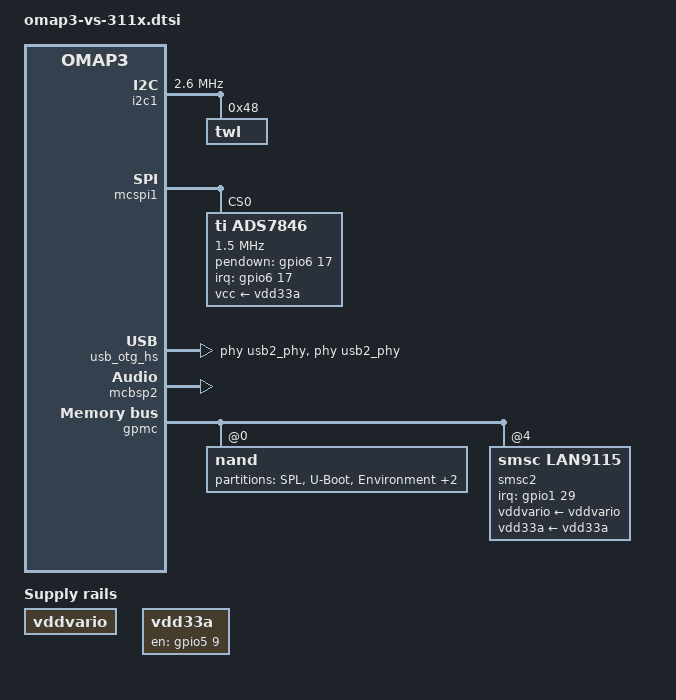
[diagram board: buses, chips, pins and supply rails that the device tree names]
/*
 * Copyright (C) 2012 Florian Vaussard, EPFL Mobots group
 *
 * This program is free software; you can redistribute it and/or modify
 * it under the terms of the GNU General Public License version 2 as
 * published by the Free Software Foundation.
 */
 
#include "omap36xx.dtsi"
#include "omap3-var-som-om3x-usb.dtsi"
/ {
	sound {
		compatible = "ti,omap-twl4030";
		ti,model = "var-som-om3x";

		ti,mcbsp = <&mcbsp2>;
		ti,codec = <&twl_audio>;
	};

	vddvario: regulator-vddvario {
		compatible = "regulator-fixed";
		regulator-name = "vddvario";
		regulator-always-on;
	};

	vdd33a: regulator-vdd33a {
		compatible = "regulator-fixed";
		regulator-name = "vdd33a";
                gpio = <&gpio5 9 0>;
                enable-active-high;
		regulator-always-on;
	};
};

&omap3_pmx_core {
	pinctrl-names = "default";
	pinctrl-0 = <&smsc_pins1>;

	uart2_pins: pinmux_uart2_pins {
		pinctrl-single,pins = <
			OMAP3_CORE1_IOPAD(0x216c, PIN_INPUT | MUX_MODE1)	/* mcbsp3_dx.uart2_cts */
			OMAP3_CORE1_IOPAD(0x216e, PIN_OUTPUT | MUX_MODE1)	/* mcbsp3_dr.uart2_rts */
			OMAP3_CORE1_IOPAD(0x2170, PIN_OUTPUT | MUX_MODE1)	/* mcbsp3_clk.uart2_tx */
			OMAP3_CORE1_IOPAD(0x2172, PIN_INPUT | MUX_MODE1)	/* mcbsp3_fsx.uart2_rx */
		>;
	};

	i2c1_pins: pinmux_i2c1_pins {
		pinctrl-single,pins = <
			OMAP3_CORE1_IOPAD(0x21ba, PIN_INPUT | MUX_MODE0)		/* i2c1_scl.i2c1_scl */
			OMAP3_CORE1_IOPAD(0x21bc, PIN_INPUT | MUX_MODE0)		/* i2c1_sda.i2c1_sda */
		>;
	};

	i2c3_pins: pinmux_i2c3_pins {
		pinctrl-single,pins = <
			OMAP3_CORE1_IOPAD(0x21c2, PIN_INPUT | MUX_MODE0)		/* i2c3_scl.i2c3_scl */
			OMAP3_CORE1_IOPAD(0x21c4, PIN_INPUT | MUX_MODE0)		/* i2c3_sda.i2c3_sda */
		>;
	};

	i2c4_pins: pinmux_i2c4_pins {
		pinctrl-single,pins = <
			OMAP3_CORE1_IOPAD(0x2a00, PIN_INPUT | MUX_MODE0)		/* i2c4_scl.i2c4_scl */
			OMAP3_CORE1_IOPAD(0x2a02, PIN_INPUT | MUX_MODE0)		/* i2c4_sda.i2c4_sda */
		>;
	};


	mmc1_pins: pinmux_mmc1_pins {
		pinctrl-single,pins = <
			OMAP3_CORE1_IOPAD(0x2144, PIN_INPUT_PULLUP | MUX_MODE0)		/* sdmmc1_clk.sdmmc1_clk */
			OMAP3_CORE1_IOPAD(0x2146, PIN_INPUT_PULLUP | MUX_MODE0)		/* sdmmc1_cmd.sdmmc1_cmd */
			OMAP3_CORE1_IOPAD(0x2148, PIN_INPUT_PULLUP | MUX_MODE0)		/* sdmmc1_dat0.sdmmc1_dat0 */
			OMAP3_CORE1_IOPAD(0x214a, PIN_INPUT_PULLUP | MUX_MODE0)		/* sdmmc1_dat1.sdmmc1_dat1 */
			OMAP3_CORE1_IOPAD(0x214c, PIN_INPUT_PULLUP | MUX_MODE0)		/* sdmmc1_dat2.sdmmc1_dat2 */
			OMAP3_CORE1_IOPAD(0x214e, PIN_INPUT_PULLUP | MUX_MODE0)		/* sdmmc1_dat3.sdmmc1_dat3 */
		>;
	};

	mmc2_pins: pinmux_mmc2_pins {
		pinctrl-single,pins = <
			OMAP3_CORE1_IOPAD(0x2158, PIN_INPUT_PULLUP | MUX_MODE0)		/* sdmmc2_clk.sdmmc2_clk */
			OMAP3_CORE1_IOPAD(0x215a, PIN_INPUT_PULLUP | MUX_MODE0)		/* sdmmc2_cmd.sdmmc2_cmd */
			OMAP3_CORE1_IOPAD(0x215c, PIN_INPUT_PULLUP | MUX_MODE0)		/* sdmmc2_dat0.sdmmc2_dat0 */
			OMAP3_CORE1_IOPAD(0x215e, PIN_INPUT_PULLUP | MUX_MODE0)		/* sdmmc2_dat1.sdmmc2_dat1 */
			OMAP3_CORE1_IOPAD(0x2160, PIN_INPUT_PULLUP | MUX_MODE0)		/* sdmmc2_dat2.sdmmc2_dat2 */
			OMAP3_CORE1_IOPAD(0x2162, PIN_INPUT_PULLUP | MUX_MODE0)		/* sdmmc2_dat3.sdmmc2_dat3 */
		>;
	};

 	hsusb0_pins: pinmux_hsusb0_pins {
		pinctrl-single,pins = <
			OMAP3_CORE1_IOPAD(0x21a2, PIN_OUTPUT | MUX_MODE0)		/* hsusb0_clk.hsusb0_clk */
			OMAP3_CORE1_IOPAD(0x21a4, PIN_OUTPUT | MUX_MODE0)		/* hsusb0_stp.hsusb0_stp */
			OMAP3_CORE1_IOPAD(0x21a6, PIN_INPUT_PULLDOWN | MUX_MODE0)	/* hsusb0_dir.hsusb0_dir */
			OMAP3_CORE1_IOPAD(0x21a8, PIN_INPUT_PULLDOWN | MUX_MODE0)	/* hsusb0_nxt.hsusb0_nxt */
			OMAP3_CORE1_IOPAD(0x21aa, PIN_INPUT_PULLDOWN | MUX_MODE0)	/* hsusb0_data0.hsusb2_data0 */
			OMAP3_CORE1_IOPAD(0x21ac, PIN_INPUT_PULLDOWN | MUX_MODE0)	/* hsusb0_data1.hsusb0_data1 */
			OMAP3_CORE1_IOPAD(0x21ae, PIN_INPUT_PULLDOWN | MUX_MODE0)	/* hsusb0_data2.hsusb0_data2 */
			OMAP3_CORE1_IOPAD(0x21b0, PIN_INPUT_PULLDOWN | MUX_MODE0)	/* hsusb0_data3.hsusb0_data3 */
			OMAP3_CORE1_IOPAD(0x21b2, PIN_INPUT_PULLDOWN | MUX_MODE0)	/* hsusb0_data4.hsusb0_data4 */
			OMAP3_CORE1_IOPAD(0x21b4, PIN_INPUT_PULLDOWN | MUX_MODE0)	/* hsusb0_data5.hsusb0_data5 */
			OMAP3_CORE1_IOPAD(0x21b6, PIN_INPUT_PULLDOWN | MUX_MODE0)	/* hsusb0_data6.hsusb0_data6 */
			OMAP3_CORE1_IOPAD(0x21b8, PIN_INPUT_PULLDOWN | MUX_MODE0)	/* hsusb0_data7.hsusb0_data7 */
		>;
	};

	smsc_pins: pinmux_smsc_pins {
		pinctrl-single,pins = <
			OMAP3_CORE1_IOPAD(0x20B6, PIN_OUTPUT | MUX_MODE0)	/* gpmc_ncs4.gpio_55 */
		>;
	};

	smsc_pins1: pinmux_smsc_pins1 {
		pinctrl-single,pins = <
			OMAP3_CORE1_IOPAD(0x2114, PIN_INPUT_PULLUP | MUX_MODE4)		/* cam_fld.gpio_98 */
		>;
	};
	
	smsc_pins2: pinmux_smsc_pins2 {
		pinctrl-single,pins = <
			OMAP3_CORE1_IOPAD(0x217e, PIN_INPUT_PULLDOWN | MUX_MODE4)	     /* uart1_rts.gpio_149 */
		>;
	};

	mcspi1_pins: pinmux_mcspi1_pins {
		pinctrl-single,pins = <
			OMAP3_CORE1_IOPAD(0x21c8, PIN_INPUT | MUX_MODE0)	/* mcspi1_clk.mcspi1_clk */
			OMAP3_CORE1_IOPAD(0x21ca, PIN_INPUT | MUX_MODE0)	/* mcspi1_simo.mcspi1_simo */
			OMAP3_CORE1_IOPAD(0x21cc, PIN_INPUT | MUX_MODE0)	/* mcspi1_somi.mcspi1_somi */
			OMAP3_CORE1_IOPAD(0x21ce, PIN_INPUT | MUX_MODE0)	/* mcspi1_cs0.mcspi1_cs0 */
		>;
	};
	
	ads7846_pins: pinmux_ads7846_pins {
		pinctrl-single,pins = <
			OMAP3_CORE1_IOPAD(0x21d4, PIN_INPUT_PULLDOWN | MUX_MODE4)	/* mcspi1_cs3.gpio_177 */
		>;
	};
};

&i2c1 {
	pinctrl-names = "default";
	pinctrl-0 = <&i2c1_pins>;
	clock-frequency = <2600000>;

	twl: twl@48 {
		reg = <0x48>;
		interrupts = <7>; /* SYS_NIRQ cascaded to intc */
		interrupt-parent = <&intc>;

		twl_audio: audio {
			compatible = "ti,twl4030-audio";
			codec {
			};
		};
	};
};

#include "twl4030.dtsi"
#include "twl4030_omap3.dtsi"

&mcspi1 {
	pinctrl-names = "default";
	pinctrl-0 = <&mcspi1_pins>;

	/* touch controller */
	ads7846@0 {
		pinctrl-names = "default";
		pinctrl-0 = <&ads7846_pins>;

		compatible = "ti,ads7846";
		vcc-supply = <&vdd33a>;

		reg = <0>;				/* CS0 */
		spi-max-frequency = <1500000>;

		interrupt-parent = <&gpio6>;
		interrupts = <17 0>;			/* gpio_177 */
		pendown-gpio = <&gpio6 17 0>;

		ti,x-min = /bits/ 16 <0x0>;
		ti,x-max = /bits/ 16 <0x0fff>;
		ti,y-min = /bits/ 16 <0x0>;
		ti,y-max = /bits/ 16 <0x0fff>;
		ti,x-plate-ohms = /bits/ 16 <180>;
		ti,pressure-max = /bits/ 16 <255>;

		linux,wakeup;
	};
};

/* i2c2 pins are NC */
&i2c2 {
	status = "disabled";
};

&usb_otg_hs {
	pinctrl-names = "default";
	pinctrl-0 = <&hsusb0_pins>;
	interface-type = <0>;
	usb-phy = <&usb2_phy>;
	phys = <&usb2_phy>;
	phy-names = "usb2-phy";
	mode = <3>;
	power = <50>;
};

&uart1 {
	status = "disabled";
};

&uart2 {
	pinctrl-names = "default";
	pinctrl-0 = <&uart2_pins>;
};

&mcbsp2 {
    status = "okay";
};

&gpmc {
	ranges = <0 0 0x00000000 0x20000000>,/* CS0 */
		 <4 0 0x2b000000 0x1000000>;	 /* CS4 */
		 
	nand@0,0 {
		linux,mtd-name= "micron,mt29c4g96maz";
		reg = <0 0 0>;
		nand-bus-width = <16>;
		gpmc,device-width = <2>;
		ti,nand-ecc-opt = "bch8";

		gpmc,sync-clk-ps = <0>;
		gpmc,cs-on-ns = <0>;
		gpmc,cs-rd-off-ns = <44>;
		gpmc,cs-wr-off-ns = <44>;
		gpmc,adv-on-ns = <6>;
		gpmc,adv-rd-off-ns = <34>;
		gpmc,adv-wr-off-ns = <44>;
		gpmc,we-off-ns = <40>;
		gpmc,oe-off-ns = <54>;
		gpmc,access-ns = <64>;
		gpmc,rd-cycle-ns = <82>;
		gpmc,wr-cycle-ns = <82>;
		gpmc,wr-access-ns = <40>;
		gpmc,wr-data-mux-bus-ns = <0>;

		#address-cells = <1>;
		#size-cells = <1>;

		partition@0 {
			label = "SPL";
			reg = <0 0x80000>; /* 512KiB */
		};
		partition@80000 {
			label = "U-Boot";
			reg = <0x80000 0x1C0000>; /* 1792KiB */
		};
		partition@1c0000 {
			label = "Environment";
			reg = <0x240000 0x40000>; /* 256KiB */
		};
		partition@280000 {
			label = "Kernel";
			reg = <0x280000 0x800000>; /* 8192KiB */
		};
		partition@780000 {
			label = "Filesystem";
			reg = <0xA80000 0>;
			/* HACK: MTDPART_SIZ_FULL=0 so fill to end */
		};
	};
	
	smsc2: ethernet@gpmc {
		compatible = "smsc,lan9115", "smsc,lan9118";
		/**/
		bank-width = <2>;
		gpmc,mux-add-data;
		/*
		gpmc,device-width = <1>; 
		/*Общая ширина устройства (устройств), подключенного к консоли управления
		чип-выберите в байтах. Консоль управления групповыми политиками поддерживает 8-битные
		и 16-разрядные устройства и поэтому это свойство должно быть
		1 или 2.*/


		gpmc,cycle2cycle-samecsen; 
		/*Add "cycle2cycle-delay" between successive
		accesses to the same CS
		Добавить "cycle2cycle задержку" между последовательными
		получает доступ к той же CS
		*/
		gpmc,cycle2cycle-diffcsen;
		/*Add "cycle2cycle-delay" between successive
		accesses to a different CS
		Добавить "cycle2cycle задержку" между последовательными
		осуществляет доступ к другим CS*/
		/*GPMC_CONFIG2*/
		gpmc,cs-on-ns = <1>; 				/*Assertion time*/
		gpmc,cs-rd-off-ns = <180>;  		/*Read deassertion time*/
		gpmc,cs-wr-off-ns = <180>;  		/*Write deassertion time*/
		/*GPMC_CONFIG3:*/
		/*gpmc,adv-on-ns = <0>; 				/*Assertion time*/
		gpmc,adv-rd-off-ns = <18>;  		/*Read deassertion time*/
		gpmc,adv-wr-off-ns = <48>;  		/*Write deassertion time*/
		/*GPMC_CONFIG4*/
		gpmc,oe-on-ns = <54>; 				/*Assertion time*/
		gpmc,oe-off-ns = <168>; 			/*Deassertion time*/
		/*GPMC_CONFIG4*/
		gpmc,we-on-ns = <54>; 				/*Assertion time*/
		gpmc,we-off-ns = <168>; 			/*Deassertion time*/
		/*GPMC_CONFIG5*/
		gpmc,rd-cycle-ns = <186>;			/*Total read cycle time */
		gpmc,wr-cycle-ns = <186>;			/*Total write cycle time*/
		gpmc,access-ns = <144>;				/*Start-cycle to first data valid delay*/
		gpmc,page-burst-access-ns = <24>;	/*Multiple access word delay*/
		gpmc,bus-turnaround-ns = <90>;		/*Turn-around time between successive accesses*/
		gpmc,cycle2cycle-delay-ns = <90>;	/*Delay between chip-select pulses*/
		/*gpmc,wait-monitoring-ns = <0>;		/*Start of wait monitoring with regard to valid data*/
		/*gpmc,clk-activation-ns = <0>;		/*GPMC clock activation time*/
		/*Boolean timing parameters. If property is present parameter enabled and disabled if omitted:*/
		/*gpmc,wr-data-mux-bus-ns = <0>;		
		/*In address-data multiplex mode, specifiesthe time when 
		the first data is driven onthe address-data bus.
		В режиме мультиплекса адреса данных, определяет
		время, когда первые данные толкнут
		bus адресные данные.*/
		/*gpmc,wr-access-ns = <0>;			
		/*In synchronous write mode, for single or
		burst accesses, defines the number of
		GPMC_FCLK cycles from start access time
		to the GPMC_CLK rising edge used by the
		memory device for the first data capture.
		В режиме синхронной записи, для одного или
		взрыв получает доступ, определяет количество
		GPMCPMC_FCLK циклов от времени доступа запуска
		к переднему фронту GPMC_CLK используется самая
		запоминающее устройство для первого сбора данных*/
		vddvario-supply = <&vddvario>;
		vdd33a-supply = <&vdd33a>;

		reg-io-width = <4>;
		smsc,save-mac-address;
		
	
		pinctrl-names = "default";
		pinctrl-0 = <&smsc_pins &smsc_pins2>;
		interrupt-parent = <&gpio1>;
		interrupts = <29 IRQ_TYPE_LEVEL_LOW>; 
		reg = <4 0 0xff>;
	};
};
